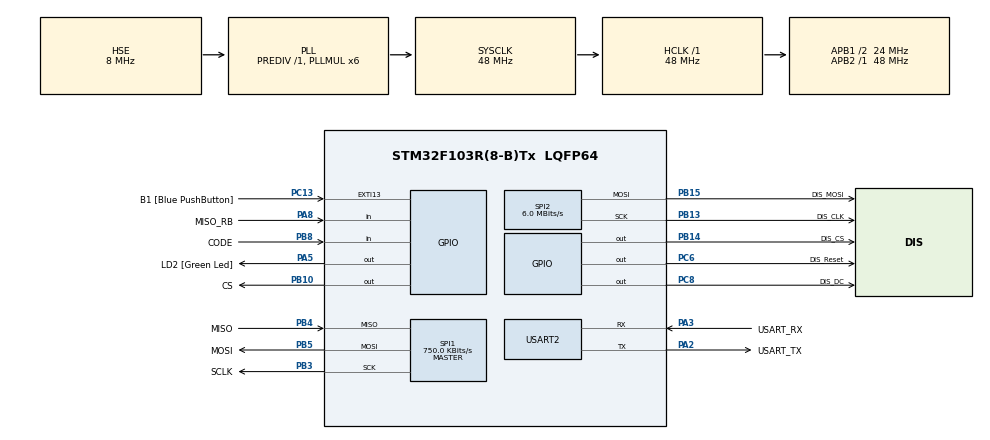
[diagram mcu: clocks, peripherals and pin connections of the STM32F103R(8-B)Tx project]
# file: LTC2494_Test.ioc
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Mcu.Family=STM32F1
Mcu.Name=STM32F103R(8-B)Tx
Mcu.Package=LQFP64
NVIC.PriorityGroup=NVIC_PRIORITYGROUP_4
NVIC.SPI2_IRQn=true\:0\:0\:false\:false\:true\:true\:true\:true
PA13.GPIO_Label=TMS
PA13.Mode=Serial_Wire
PA13.Signal=SYS_JTMS-SWDIO
PA14.GPIO_Label=TCK
PA14.Mode=Serial_Wire
PA14.Signal=SYS_JTCK-SWCLK
PA2.GPIO_Label=USART_TX
PA2.GPIO_Mode=GPIO_MODE_AF_PP
PA2.GPIO_PuPd=GPIO_NOPULL
PA2.GPIO_Speed=GPIO_SPEED_FREQ_LOW
PA2.Mode=Asynchronous
PA2.Signal=USART2_TX
PA3.GPIO_Label=USART_RX
PA3.GPIO_Mode=GPIO_MODE_AF_PP
PA3.GPIO_PuPd=GPIO_NOPULL
PA3.GPIO_Speed=GPIO_SPEED_FREQ_LOW
PA3.Mode=Asynchronous
PA3.Signal=USART2_RX
PA5.GPIO_Label=LD2 [Green Led]
PA5.GPIO_ModeDefaultOutputPP=GPIO_MODE_OUTPUT_PP
PA5.GPIO_PuPd=GPIO_NOPULL
PA5.GPIO_Speed=GPIO_SPEED_FREQ_LOW
PA5.Signal=GPIO_Output
PA8.GPIO_Label=MISO_RB
PA8.Signal=GPIO_Input
PB10.GPIO_Label=CS
PB10.PinState=GPIO_PIN_SET
PB10.Signal=GPIO_Output
PB13.GPIO_Label=DIS_CLK
PB13.Mode=TX_Only_Simplex_Unidirect_Master
PB13.Signal=SPI2_SCK
PB14.GPIO_Label=DIS_CS
PB14.Signal=GPIO_Output
PB15.GPIO_Label=DIS_MOSI
PB15.Mode=TX_Only_Simplex_Unidirect_Master
PB15.Signal=SPI2_MOSI
PB3.GPIO_Label=SCLK
PB3.Mode=Full_Duplex_Master
PB3.Signal=SPI1_SCK
PB4.GPIO_Label=MISO
PB4.Mode=Full_Duplex_Master
PB4.Signal=SPI1_MISO
PB5.GPIO_Label=MOSI
PB5.Mode=Full_Duplex_Master
PB5.Signal=SPI1_MOSI
PB8.GPIO_Label=CODE
PB8.Signal=GPIO_Input
PC13-TAMPER-RTC.GPIO_Label=B1 [Blue PushButton]
PC13-TAMPER-RTC.GPIO_ModeDefaultEXTI=GPIO_MODE_IT_FALLING
PC13-TAMPER-RTC.GPIO_PuPd=GPIO_NOPULL
PC13-TAMPER-RTC.Signal=GPXTI13
PC14-OSC32_IN.Signal=RCC_OSC32_IN
PC15-OSC32_OUT.Signal=RCC_OSC32_OUT
PC6.GPIO_Label=DIS_Reset
PC6.Signal=GPIO_Output
PC8.GPIO_Label=DIS_DC
PC8.Signal=GPIO_Output
PD0-OSC_IN.Mode=HSE-External-Clock-Source
PD0-OSC_IN.Signal=RCC_OSC_IN
PD1-OSC_OUT.Mode=HSE-External-Clock-Source
PD1-OSC_OUT.Signal=RCC_OSC_OUT
ProjectManager.HeapSize=0x200
ProjectManager.StackSize=0x400
ProjectManager.TargetToolchain=STM32CubeIDE
RCC.AHBFreq_Value=48000000
RCC.APB1CLKDivider=RCC_HCLK_DIV2
RCC.APB1Freq_Value=24000000
RCC.APB1TimFreq_Value=48000000
RCC.APB2Freq_Value=48000000
RCC.APB2TimFreq_Value=48000000
RCC.EnbaleCSS=true
RCC.HCLKFreq_Value=48000000
RCC.PLLMUL=RCC_PLL_MUL6
RCC.PLLSourceVirtual=RCC_PLLSOURCE_HSE
RCC.SYSCLKFreq_VALUE=48000000
RCC.SYSCLKSource=RCC_SYSCLKSOURCE_PLLCLK
RCC.USBFreq_Value=48000000
SPI1.BaudRatePrescaler=SPI_BAUDRATEPRESCALER_64
SPI1.CLKPhase=SPI_PHASE_1EDGE
SPI1.CLKPolarity=SPI_POLARITY_LOW
SPI1.CalculateBaudRate=750.0 KBits/s
SPI1.Direction=SPI_DIRECTION_2LINES
SPI1.FirstBit=SPI_FIRSTBIT_MSB
SPI1.Mode=SPI_MODE_MASTER
SPI1.VirtualType=VM_MASTER
SPI2.BaudRatePrescaler=SPI_BAUDRATEPRESCALER_4
SPI2.CalculateBaudRate=6.0 MBits/s
SPI2.Direction=SPI_DIRECTION_2LINES
SPI2.Mode=SPI_MODE_MASTER
SPI2.VirtualType=VM_MASTER
USART2.VirtualMode=VM_ASYNC
board=NUCLEO-F103RB

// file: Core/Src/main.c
/* USER CODE BEGIN Header */
/**
  ******************************************************************************
  * @file           : main.c
  * @brief          : Main program body
  ******************************************************************************
  * @attention
  *
  * Copyright (c) 2025 STMicroelectronics.
  * All rights reserved.
  *
  * This software is licensed under terms that can be found in the LICENSE file
  * in the root directory of this software component.
  * If no LICENSE file comes with this software, it is provided AS-IS.
  *
  ******************************************************************************
  */
/* USER CODE END Header */
#include "main.h"

/* USER CODE BEGIN PD */
#define S1 0u
#define S2 2u
#define S3 4u
#define S4 6u
#define S5 8u
#define S6 10u
#define S7 12u
#define S8 14u
/* USER CODE END PD */

SPI_HandleTypeDef hspi1;
SPI_HandleTypeDef hspi2;

UART_HandleTypeDef huart2;

/* USER CODE BEGIN PV */

static uint32_t T200_NextExec = 0x00u;
static uint8_t CHsel = 0x01u;
static uint8_t newval = 0x00u;
static int32_t adcraw = 0;
static uint32_t newweight = 0u;
char buf[8] = { '0' };

static const uint8_t Coord_xy_Dist[] =
{
	52, 30,
	52, 47,
	52, 64,
	52, 81,
	52, 98,
	52, 115,
	52, 132,
	52, 149
};

/* USER CODE END PV */

void SystemClock_Config(void);
static void MX_GPIO_Init(void);
static void MX_SPI1_Init(void);
static void MX_SPI2_Init(void);
static void MX_USART2_UART_Init(void);
/* USER CODE BEGIN PFP */
void UpdateDisplay(uint32_t value);
/* USER CODE END PFP */

int main(void)
{

  /* MCU Configuration--------------------------------------------------------*/

  /* Reset of all peripherals, Initializes the Flash interface and the Systick. */
  HAL_Init();

  /* Configure the system clock */
  SystemClock_Config();

  /* Initialize all configured peripherals */
  MX_GPIO_Init();
  MX_SPI1_Init();
  MX_SPI2_Init();
  MX_USART2_UART_Init();
  /* USER CODE BEGIN 2 */

	ST7735_Init(2u);
	fillScreen(WHITE);
	ST7735_WriteString(2,7,"Weight Scale DEMO",Font_7x10 , BLUE, WHITE);
	drawFastHLine(0, 23, 180, GREEN);
	drawFastHLine(0, 24, 180, GREEN);
	drawFastHLine(0, 25, 180, GREEN);

	ST7735_WriteString(10,35,"BOOTING...",Font_11x18 , MAGENTA, WHITE);

	/*error in case of wrong Code Pin Level*/
	if(GPIO_PIN_RESET == HAL_GPIO_ReadPin(CODE_GPIO_Port, CODE_Pin))
	{
		ST7735_WriteString(10,35,"          ",Font_11x18 , WHITE, WHITE);
		ST7735_WriteString(15,35,"ERROR",Font_11x18 , RED, WHITE);
		ST7735_WriteString(5,65,"wrong AFE mounted",Font_7x10 , RED, WHITE);
		while(1)
		{
			asm("nop");
		}
	}

	if(HAL_ERROR == LTC2494_Init(0u))
	{	//entweder Communication error oder falscher AFE-Chip
		ST7735_WriteString(10,35,"          ",Font_11x18 , WHITE, WHITE);
		ST7735_WriteString(15,35,"ERROR",Font_11x18 , RED, WHITE);
		ST7735_WriteString(5,65,"AFE Init Error",Font_7x10 , RED, WHITE);
		while(1)
		{
			asm("nop");
		}
	}

	HAL_Delay(300u);

	LTC2494_Tare(0x00u);

	ST7735_WriteString(10,35,"          ",Font_11x18 , WHITE, WHITE);
	ST7735_WriteString(2,30,"CELL 1:",Font_7x10 , BLACK, WHITE);
	drawFastHLine(0, 42, 180, BLACK);
	ST7735_WriteString(2,47,"CELL 2:",Font_7x10 , BLACK, WHITE);
	drawFastHLine(0, 59, 180, BLACK);
	ST7735_WriteString(2,64,"CELL 3:",Font_7x10 , BLACK, WHITE);
	drawFastHLine(0, 76, 180, BLACK);
	ST7735_WriteString(2,81,"CELL 4:",Font_7x10 , BLACK, WHITE);
	drawFastHLine(0, 93, 180, BLACK);
	ST7735_WriteString(2,98,"CELL 5:",Font_7x10 , BLACK, WHITE);
	drawFastHLine(0, 110, 180, BLACK);
	ST7735_WriteString(2,115,"CELL 6:",Font_7x10 , BLACK, WHITE);
	drawFastHLine(0, 127, 180, BLACK);
	ST7735_WriteString(2,132,"CELL 7:",Font_7x10 , BLACK, WHITE);
	drawFastHLine(0, 144, 180, BLACK);
	ST7735_WriteString(2,149,"CELL 8:",Font_7x10 , BLACK, WHITE);

	ST7735_WriteString(Coord_xy_Dist[S1], Coord_xy_Dist[S1+1u], "999999", Font_7x10 , RED, WHITE);
	ST7735_WriteString(Coord_xy_Dist[S2], Coord_xy_Dist[S2+1u], "999999", Font_7x10 , RED, WHITE);
	ST7735_WriteString(Coord_xy_Dist[S3], Coord_xy_Dist[S3+1u], "999999", Font_7x10 , RED, WHITE);
	ST7735_WriteString(Coord_xy_Dist[S4], Coord_xy_Dist[S4+1u], "999999", Font_7x10 , RED, WHITE);
	ST7735_WriteString(Coord_xy_Dist[S5], Coord_xy_Dist[S5+1u], "999999", Font_7x10 , RED, WHITE);
	ST7735_WriteString(Coord_xy_Dist[S6], Coord_xy_Dist[S6+1u], "999999", Font_7x10 , RED, WHITE);
	ST7735_WriteString(Coord_xy_Dist[S7], Coord_xy_Dist[S7+1u], "999999", Font_7x10 , RED, WHITE);
	ST7735_WriteString(Coord_xy_Dist[S8], Coord_xy_Dist[S8+1u], "999999", Font_7x10 , RED, WHITE);

	//Start first Ch1 conversion before first task execution
	LTC2494_ReadADCData(0, CH1, &adcraw);

	T200_NextExec = HAL_GetTick() + 200u;

  /* USER CODE END 2 */

  /* Infinite loop */
  /* USER CODE BEGIN WHILE */
  while (1)
  {

	  if(HAL_GetTick() >= T200_NextExec)
	  {	/*Get new sensor data and evaluate them*/
		  HAL_GPIO_TogglePin(LD2_GPIO_Port, LD2_Pin);

		  switch(CHsel)
		  {
			  case 1u:
				  if(0xFFu == newval)
				  {
					  CHsel = 2u;
					  LTC2494_ReadADCData(0, CH2, &adcraw);
					  //adcraw contains now CH1 result
					  LTC2494_CalcWeight(adcraw, CH1, &newweight);
					  UpdateDisplay(newweight);
					  ST7735_WriteString(Coord_xy_Dist[S1], Coord_xy_Dist[S1+1u], buf, Font_7x10 , RED, WHITE);
				  }
				  break;
			  case 2u:
				  if(0xFFu == newval)
				  {
					  CHsel = 3u;
					  LTC2494_ReadADCData(0, CH3, &adcraw);
					  //adcraw contains now CH2 result
					  LTC2494_CalcWeight(adcraw, CH2, &newweight);
					  UpdateDisplay(newweight);
					  ST7735_WriteString(Coord_xy_Dist[S2], Coord_xy_Dist[S2+1u], buf, Font_7x10 , RED, WHITE);
				  }
				  break;
			  case 3u:
				  if(0xFFu == newval)
				  {
					  CHsel = 4u;
					  LTC2494_ReadADCData(0, CH4, &adcraw);
					  //adcraw contains now CH3 result
					  LTC2494_CalcWeight(adcraw, CH3, &newweight);
					  UpdateDisplay(newweight);
					  ST7735_WriteString(Coord_xy_Dist[S3], Coord_xy_Dist[S3+1u], buf, Font_7x10 , RED, WHITE);
				  }
				  break;
			  case 4u:
				  if(0xFFu == newval)
				  {
					  CHsel = 5u;
					  LTC2494_ReadADCData(0, CH5, &adcraw);
					  //adcraw contains now CH4 result
					  LTC2494_CalcWeight(adcraw, CH4, &newweight);
					  UpdateDisplay(newweight);
					  ST7735_WriteString(Coord_xy_Dist[S4], Coord_xy_Dist[S4+1u], buf, Font_7x10 , RED, WHITE);
				  }
				  break;
			  case 5u:
				  if(0xFFu == newval)
				  {
					  CHsel = 6u;
					  LTC2494_ReadADCData(0, CH6, &adcraw);
					  //adcraw contains now CH5 result
					  LTC2494_CalcWeight(adcraw, CH5, &newweight);
					  UpdateDisplay(newweight);
					  ST7735_WriteString(Coord_xy_Dist[S5], Coord_xy_Dist[S5+1u], buf, Font_7x10 , RED, WHITE);
				  }
				  break;
			  case 6u:
				  if(0xFFu == newval)
				  {
					  CHsel = 7u;
					  LTC2494_ReadADCData(0, CH7, &adcraw);
					  //adcraw contains now CH6 result
					  LTC2494_CalcWeight(adcraw, CH6, &newweight);
					  UpdateDisplay(newweight);
					  ST7735_WriteString(Coord_xy_Dist[S6], Coord_xy_Dist[S6+1u], buf, Font_7x10 , RED, WHITE);
				  }
				  break;
			  case 7u:
				  if(0xFFu == newval)
				  {
					  CHsel = 8u;
					  LTC2494_ReadADCData(0, CH8, &adcraw);
					  //adcraw contains now CH7 result
					  LTC2494_CalcWeight(adcraw, CH7, &newweight);
					  UpdateDisplay(newweight);
					  ST7735_WriteString(Coord_xy_Dist[S7], Coord_xy_Dist[S7+1u], buf, Font_7x10 , RED, WHITE);
				  }
				  break;
			  case 8u:
				  if(0xFFu == newval)
				  {
					  CHsel = 1u;
					  LTC2494_ReadADCData(0, CH1, &adcraw);
					  //adcraw contains now CH8 result
					  LTC2494_CalcWeight(adcraw, CH8, &newweight);
					  UpdateDisplay(newweight);
					  ST7735_WriteString(Coord_xy_Dist[S8], Coord_xy_Dist[S8+1u], buf, Font_7x10 , RED, WHITE);
				  }
				  break;
			  default:
				  CHsel = 1u;
				  break;
		  }

		  T200_NextExec = HAL_GetTick() + 200u;
	  }

	  if(0x00u == LTC2494_ReadRDY(0u))
	  {
		  newval = 0xFFu;
	  }
	  else
	  {
		  newval = 0x00u;
	  }

    /* USER CODE END WHILE */

  }
}

void SystemClock_Config(void)
{
  RCC_OscInitTypeDef RCC_OscInitStruct = {0};
  RCC_ClkInitTypeDef RCC_ClkInitStruct = {0};

  /** Initializes the RCC Oscillators according to the specified parameters
  * in the RCC_OscInitTypeDef structure.
  */
  RCC_OscInitStruct.OscillatorType = RCC_OSCILLATORTYPE_HSE;
  RCC_OscInitStruct.HSEState = RCC_HSE_BYPASS;
  RCC_OscInitStruct.HSEPredivValue = RCC_HSE_PREDIV_DIV1;
  RCC_OscInitStruct.HSIState = RCC_HSI_ON;
  RCC_OscInitStruct.PLL.PLLState = RCC_PLL_ON;
  RCC_OscInitStruct.PLL.PLLSource = RCC_PLLSOURCE_HSE;
  RCC_OscInitStruct.PLL.PLLMUL = RCC_PLL_MUL6;
  if (HAL_RCC_OscConfig(&RCC_OscInitStruct) != HAL_OK)
  {
    Error_Handler();
  }

  /** Initializes the CPU, AHB and APB buses clocks
  */
  RCC_ClkInitStruct.ClockType = RCC_CLOCKTYPE_HCLK|RCC_CLOCKTYPE_SYSCLK
                              |RCC_CLOCKTYPE_PCLK1|RCC_CLOCKTYPE_PCLK2;
  RCC_ClkInitStruct.SYSCLKSource = RCC_SYSCLKSOURCE_PLLCLK;
  RCC_ClkInitStruct.AHBCLKDivider = RCC_SYSCLK_DIV1;
  RCC_ClkInitStruct.APB1CLKDivider = RCC_HCLK_DIV2;
  RCC_ClkInitStruct.APB2CLKDivider = RCC_HCLK_DIV1;

  if (HAL_RCC_ClockConfig(&RCC_ClkInitStruct, FLASH_LATENCY_1) != HAL_OK)
  {
    Error_Handler();
  }

  /** Enables the Clock Security System
  */
  HAL_RCC_EnableCSS();
}

static void MX_SPI1_Init(void)
{

  /* SPI1 parameter configuration*/
  hspi1.Instance = SPI1;
  hspi1.Init.Mode = SPI_MODE_MASTER;
  hspi1.Init.Direction = SPI_DIRECTION_2LINES;
  hspi1.Init.DataSize = SPI_DATASIZE_8BIT;
  hspi1.Init.CLKPolarity = SPI_POLARITY_LOW;
  hspi1.Init.CLKPhase = SPI_PHASE_1EDGE;
  hspi1.Init.NSS = SPI_NSS_SOFT;
  hspi1.Init.BaudRatePrescaler = SPI_BAUDRATEPRESCALER_64;
  hspi1.Init.FirstBit = SPI_FIRSTBIT_MSB;
  hspi1.Init.TIMode = SPI_TIMODE_DISABLE;
  hspi1.Init.CRCCalculation = SPI_CRCCALCULATION_DISABLE;
  hspi1.Init.CRCPolynomial = 10;
  if (HAL_SPI_Init(&hspi1) != HAL_OK)
  {
    Error_Handler();
  }

}

static void MX_SPI2_Init(void)
{

  /* SPI2 parameter configuration*/
  hspi2.Instance = SPI2;
  hspi2.Init.Mode = SPI_MODE_MASTER;
  hspi2.Init.Direction = SPI_DIRECTION_2LINES;
  hspi2.Init.DataSize = SPI_DATASIZE_8BIT;
  hspi2.Init.CLKPolarity = SPI_POLARITY_LOW;
  hspi2.Init.CLKPhase = SPI_PHASE_1EDGE;
  hspi2.Init.NSS = SPI_NSS_SOFT;
  hspi2.Init.BaudRatePrescaler = SPI_BAUDRATEPRESCALER_4;
  hspi2.Init.FirstBit = SPI_FIRSTBIT_MSB;
  hspi2.Init.TIMode = SPI_TIMODE_DISABLE;
  hspi2.Init.CRCCalculation = SPI_CRCCALCULATION_DISABLE;
  hspi2.Init.CRCPolynomial = 10;
  if (HAL_SPI_Init(&hspi2) != HAL_OK)
  {
    Error_Handler();
  }

}

static void MX_USART2_UART_Init(void)
{

  huart2.Instance = USART2;
  huart2.Init.BaudRate = 115200;
  huart2.Init.WordLength = UART_WORDLENGTH_8B;
  huart2.Init.StopBits = UART_STOPBITS_1;
  huart2.Init.Parity = UART_PARITY_NONE;
  huart2.Init.Mode = UART_MODE_TX_RX;
  huart2.Init.HwFlowCtl = UART_HWCONTROL_NONE;
  huart2.Init.OverSampling = UART_OVERSAMPLING_16;
  if (HAL_UART_Init(&huart2) != HAL_OK)
  {
    Error_Handler();
  }

}

static void MX_GPIO_Init(void)
{
  GPIO_InitTypeDef GPIO_InitStruct = {0};

  /* GPIO Ports Clock Enable */
  __HAL_RCC_GPIOC_CLK_ENABLE();
  __HAL_RCC_GPIOD_CLK_ENABLE();
  __HAL_RCC_GPIOA_CLK_ENABLE();
  __HAL_RCC_GPIOB_CLK_ENABLE();

  /*Configure GPIO pin Output Level */
  HAL_GPIO_WritePin(LD2_GPIO_Port, LD2_Pin, GPIO_PIN_RESET);

  /*Configure GPIO pin Output Level */
  HAL_GPIO_WritePin(CS_GPIO_Port, CS_Pin, GPIO_PIN_SET);

  /*Configure GPIO pin Output Level */
  HAL_GPIO_WritePin(DIS_CS_GPIO_Port, DIS_CS_Pin, GPIO_PIN_RESET);

  /*Configure GPIO pin Output Level */
  HAL_GPIO_WritePin(GPIOC, DIS_Reset_Pin|DIS_DC_Pin, GPIO_PIN_RESET);

  /*Configure GPIO pin : B1_Pin */
  GPIO_InitStruct.Pin = B1_Pin;
  GPIO_InitStruct.Mode = GPIO_MODE_IT_FALLING;
  GPIO_InitStruct.Pull = GPIO_NOPULL;
  HAL_GPIO_Init(B1_GPIO_Port, &GPIO_InitStruct);

  /*Configure GPIO pin : LD2_Pin */
  GPIO_InitStruct.Pin = LD2_Pin;
  GPIO_InitStruct.Mode = GPIO_MODE_OUTPUT_PP;
  GPIO_InitStruct.Pull = GPIO_NOPULL;
  GPIO_InitStruct.Speed = GPIO_SPEED_FREQ_LOW;
  HAL_GPIO_Init(LD2_GPIO_Port, &GPIO_InitStruct);

  /*Configure GPIO pins : CS_Pin DIS_CS_Pin */
  GPIO_InitStruct.Pin = CS_Pin|DIS_CS_Pin;
  GPIO_InitStruct.Mode = GPIO_MODE_OUTPUT_PP;
  GPIO_InitStruct.Pull = GPIO_NOPULL;
  GPIO_InitStruct.Speed = GPIO_SPEED_FREQ_LOW;
  HAL_GPIO_Init(GPIOB, &GPIO_InitStruct);

  /*Configure GPIO pins : DIS_Reset_Pin DIS_DC_Pin */
  GPIO_InitStruct.Pin = DIS_Reset_Pin|DIS_DC_Pin;
  GPIO_InitStruct.Mode = GPIO_MODE_OUTPUT_PP;
  GPIO_InitStruct.Pull = GPIO_NOPULL;
  GPIO_InitStruct.Speed = GPIO_SPEED_FREQ_LOW;
  HAL_GPIO_Init(GPIOC, &GPIO_InitStruct);

  /*Configure GPIO pin : MISO_RB_Pin */
  GPIO_InitStruct.Pin = MISO_RB_Pin;
  GPIO_InitStruct.Mode = GPIO_MODE_INPUT;
  GPIO_InitStruct.Pull = GPIO_NOPULL;
  HAL_GPIO_Init(MISO_RB_GPIO_Port, &GPIO_InitStruct);

  /*Configure GPIO pin : CODE_Pin */
  GPIO_InitStruct.Pin = CODE_Pin;
  GPIO_InitStruct.Mode = GPIO_MODE_INPUT;
  GPIO_InitStruct.Pull = GPIO_NOPULL;
  HAL_GPIO_Init(CODE_GPIO_Port, &GPIO_InitStruct);

}

/* USER CODE BEGIN 4 */
void UpdateDisplay(uint32_t value)
{
	//ST7735_WriteString(20, 92, "              ", Font_7x10 , RED, WHITE);
	//umwandeln in String und auf Display ausgeben
	itoa(value, buf, 10u);
	if(10u > value)
	{
		buf[1u] = 0x20u; /*0x20 = Leerzeichen*/
		buf[2u] = 0x20u; /*0x20 = Leerzeichen*/
		buf[3u] = 0x20u; /*0x20 = Leerzeichen*/
		buf[4u] = 0x20u; /*0x20 = Leerzeichen*/
		buf[5u] = 0x20u; /*0x20 = Leerzeichen*/
	}
	else if(100u > value)
	{
		buf[2u] = 0x20u; /*0x20 = Leerzeichen*/
		buf[3u] = 0x20u; /*0x20 = Leerzeichen*/
		buf[4u] = 0x20u; /*0x20 = Leerzeichen*/
		buf[5u] = 0x20u; /*0x20 = Leerzeichen*/
	}
	else if(1000u > value)
	{
		buf[3u] = 0x20u; /*0x20 = Leerzeichen*/
		buf[4u] = 0x20u; /*0x20 = Leerzeichen*/
		buf[5u] = 0x20u; /*0x20 = Leerzeichen*/
	}
	else if(10000u > value)
	{
		buf[4u] = 0x20u; /*0x20 = Leerzeichen*/
		buf[5u] = 0x20u; /*0x20 = Leerzeichen*/
	}
}
/* USER CODE END 4 */

void Error_Handler(void)
{
  __disable_irq();
  while (1)
  {
  }
}
